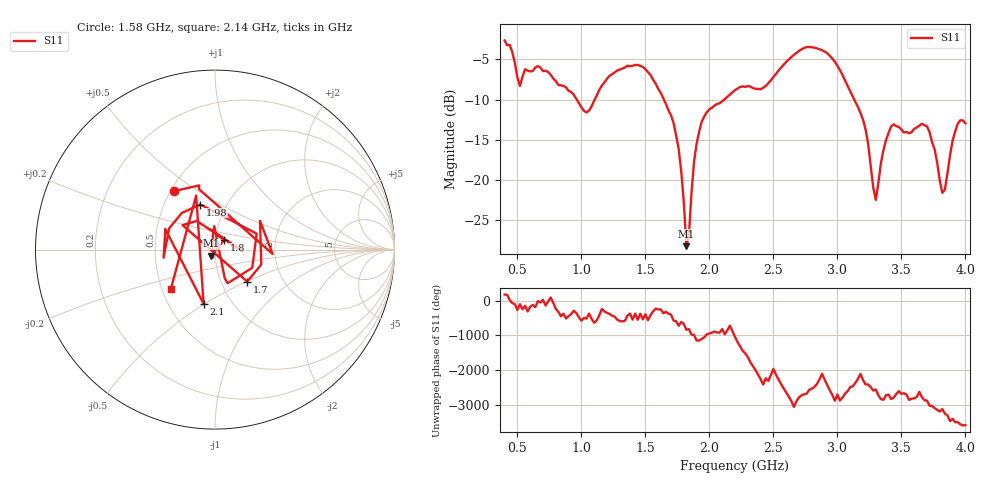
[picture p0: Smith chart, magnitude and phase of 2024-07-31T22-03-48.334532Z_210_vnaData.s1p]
!Created with skrf (http://scikit-rf.org).
# Hz S RI R 50.0
!freq ReS11 ImS11
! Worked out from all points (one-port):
!   181 points, 400 MHz to 4 GHz, reference 50 ohm
!   lowest |S11| = -28.2 dB at 1.82 GHz (marker M1), VSWR 1.08, Z = 47.9 - j3.21 ohm
!   |S11| at or under -10 dB: 964 MHz to 1.104 GHz (139.6 MHz wide, 13.5 % of centre); 1.644 GHz to 2.115 GHz (471 MHz wide, 25.1 % of centre); 3.131 GHz to end of sweep
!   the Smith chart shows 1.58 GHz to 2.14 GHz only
!   S11 on the Smith chart (normalised r, x): 1.58 GHz: 0.52, +0.40; 1.7 GHz: 1.33, -0.51; 1.8 GHz: 1.10, +0.12; 1.98 GHz: 0.76, +0.41; 2.1 GHz: 0.74, -0.49; 2.14 GHz: 0.56, -0.27
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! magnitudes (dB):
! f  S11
! 400 MHz  -2.7
! 520 MHz  -8.3
! 660 MHz  -5.8
! 860 MHz  -8.3
! 1.04 GHz  -11.6
! 1.3 GHz  -6.3
! 1.58 GHz  -8.0
! 1.7 GHz  -11.9
! 1.76 GHz  -16.1
! 1.8 GHz  -22.7
! 1.82 GHz  -28.2
! 1.84 GHz  -26.8
! 1.9 GHz  -15.5
! 1.98 GHz  -11.6
! 2.1 GHz  -10.2
! 2.14 GHz  -9.6
! 2.2 GHz  -8.8
! 2.66 GHz  -4.4
! 2.9 GHz  -4.0
! 3.1 GHz  -8.9
! 3.22 GHz  -13.7
! 3.3 GHz  -22.5
! 3.42 GHz  -13.3
! 3.56 GHz  -14.2
! 3.7 GHz  -13.3
! 3.82 GHz  -21.6
! 3.92 GHz  -14.0
! 4 GHz  -12.9
